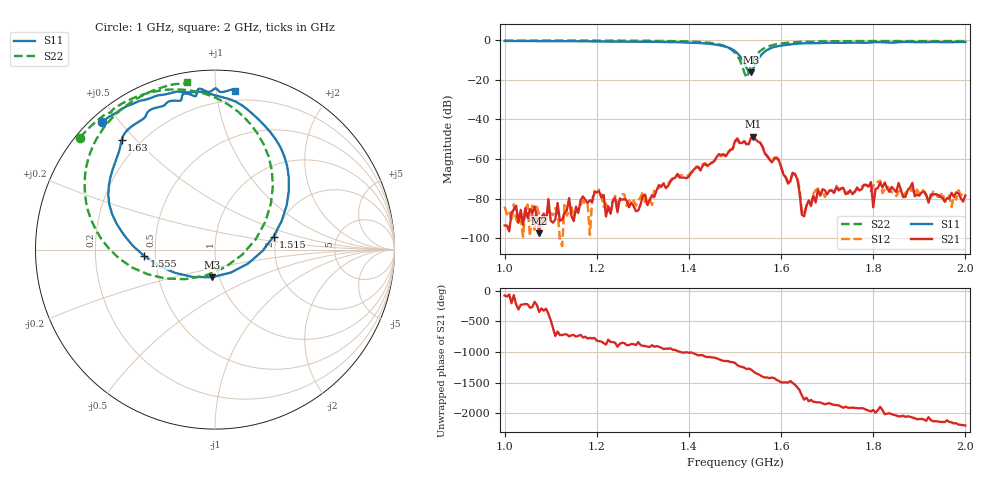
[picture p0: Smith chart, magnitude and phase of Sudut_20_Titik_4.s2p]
# Hz S RI R 50
! CMT, C1220, 16058040, 17.2.0/1
! Date: 14/08/2018 12:28:37
! Data: Format (Calibration Info)
! Freq  S11: Re/Im (F2)  S21: Re/Im (F2)  S12: Re/Im (F2)  S22: Re/Im (F2)
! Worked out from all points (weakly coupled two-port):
!   201 points, 1 GHz to 2 GHz, reference 50 ohm
!   highest |S21| = -48.78 dB at 1.54 GHz (marker M1); lowest = -97.5 dB at 1.075 GHz (marker M2)
!   lowest |S11| = -16.2 dB at 1.535 GHz (marker M3), VSWR 1.37, Z = 46.2 - j14.6 ohm
!   |S11| at or under -10 dB: 1.516 GHz to 1.549 GHz (33.01 MHz wide, 2.15 % of centre)
!   |S22| runs from -18.9 to -0.2 dB; largest |S21 - S12| = 0.00026
!   S11 on the Smith chart (normalised r, x): 1 GHz: 0.03, +0.45; 1.515 GHz: 1.94, +0.32; 1.555 GHz: 0.43, -0.04; 1.63 GHz: 0.13, +0.46; 2 GHz: 0.13, +1.13
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1e9  -0.6271 0.7086  4.76e-06 -2.05e-05  2.68e-05 5.69e-05  -0.7527 0.6243
1.075e9  -0.5454 0.7659  1.29e-05 3.38e-06  1.13e-05 3.89e-05  -0.6995 0.6799
1.17e9  -0.4514 0.8149  8.41e-05 -7.61e-05  8.7e-05 -1.61e-05  -0.6166 0.7498
1.315e9  -0.2135 0.88  -9.03e-05 2.89e-05  -9.1e-05 -2.4e-05  -0.4387 0.851
1.335e9  -0.1864 0.8774  -0.000214 5.72e-05  -0.000164 8.64e-05  -0.4008 0.8639
1.45e9  0.1957 0.7678  0.000794 -0.00014  0.000774 -0.000189  0.0212 0.8376
1.5e9  0.4113 0.3283  -0.000397 -0.00281  -0.000391 -0.00261  0.3223 0.3523
1.515e9  0.3265 0.0729  -0.00238 -0.000811  -0.00235 -0.000844  0.227 0.0574
1.525e9  0.1846 -0.0774  -0.00224 0.000735  -0.00227 0.000728  0.0552 -0.0988
1.535e9  -0.016 -0.1537  -0.00302 0.00161  -0.00306 0.00162  -0.1654 -0.1647
1.54e9  -0.1232 -0.1527  -0.0019 0.0031  -0.00193 0.00305  -0.2749 -0.1611
1.555e9  -0.3952 -0.0352  0.00134 0.00218  0.0012 0.00226  -0.532 -0.0511
1.615e9  -0.5352 0.5452  0.00012 -0.000208  9.96e-05 -0.000242  -0.7145 0.4739
1.63e9  -0.5198 0.6125  -2.91e-05 -0.000418  -3e-05 -0.000402  -0.6929 0.5441
1.645e9  -0.4867 0.6676  -1.28e-06 3.93e-05  4.28e-05 2.51e-05  -0.6684 0.6011
1.67e9  -0.4009 0.7276  0.000117 -2.7e-05  0.000131 1.96e-05  -0.6245 0.6723
1.795e9  -0.1848 0.8508  -0.000259 -3.84e-05  -0.000148 -4.8e-05  -0.4315 0.8429
1.8e9  -0.1822 0.8596  -5.03e-05 -3.31e-05  -0.000206 6.27e-05  -0.4247 0.8471
1.815e9  -0.1589 0.8696  -2.92e-05 -0.000254  -0.000254 -0.000126  -0.4041 0.8588
1.82e9  -0.1467 0.8668  -0.000164 -9.64e-05  -0.000135 2.73e-05  -0.3974 0.8619
1.835e9  -0.1129 0.8548  -0.000139 5.16e-05  -0.000165 7.35e-05  -0.3773 0.8719
2e9  0.113 0.8841  9.11e-05 -7.86e-05  8.99e-05 -8.96e-05  -0.154 0.9319
